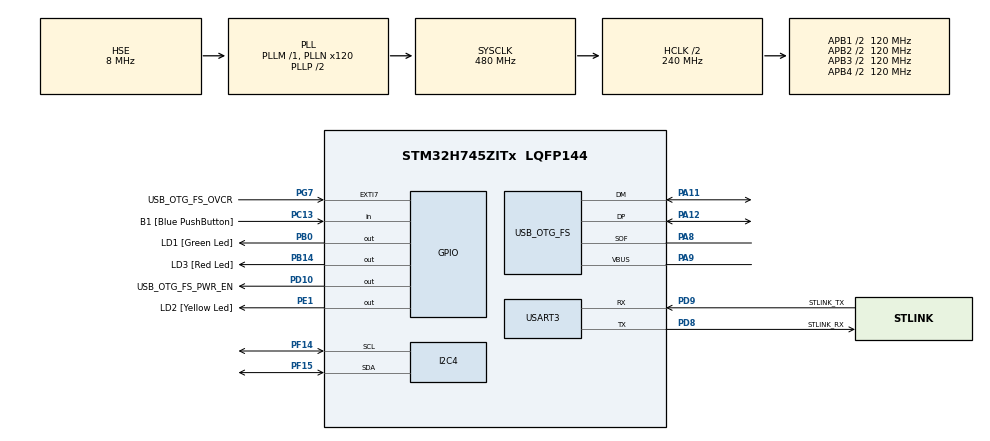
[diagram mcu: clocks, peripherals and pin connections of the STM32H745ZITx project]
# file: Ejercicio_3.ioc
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CortexM4.IPs=FATFS_M4\:I,FREERTOS_M4\:I,IWDG2\:I,RCC,WWDG2\:I,DMA,BDMA,MDMA,NVIC2\:I,DEBUG,USB_DEVICE_M4\:I,USB_HOST_M4\:I,PDM2PCM_M4\:I,PWR,RESMGR_UTILITY,SYS_M4\:I,CORTEX_M4\:I,OPENAMP_M4\:I,VREFBUF,GPIO
CortexM7.IPs=FATFS_M7\:I,FREERTOS_M7\:I,IWDG1\:I,RCC\:I,WWDG1\:I,DMA\:I,BDMA\:I,MDMA\:I,NVIC1\:I,SYS\:I,USART3\:I,USB_OTG_FS\:I,CORTEX_M7\:I,DEBUG\:I,USB_DEVICE_M7\:I,USB_HOST_M7\:I,PDM2PCM_M7\:I,PWR\:I,RESMGR_UTILITY\:I,OPENAMP_M7\:I,VREFBUF\:I,GPIO\:I,TIM2\:I,I2C4\:I
CortexM7.Pins=PB0,PB14
I2C4.Timing=0x307075B1
Mcu.Family=STM32H7
Mcu.Name=STM32H745ZITx
Mcu.Package=LQFP144
NVIC1.PriorityGroup=NVIC_PRIORITYGROUP_4
NVIC1.TIM2_IRQn=true\:0\:0\:false\:false\:true\:true\:true\:true
NVIC2.PriorityGroup=NVIC_PRIORITYGROUP_4
PA1.PinAttribute=CortexM7
PA1.Signal=ETH_REF_CLK
PA11.Mode=Device_Only
PA11.PinAttribute=CortexM7
PA11.Signal=USB_OTG_FS_DM
PA12.Mode=Device_Only
PA12.PinAttribute=CortexM7
PA12.Signal=USB_OTG_FS_DP
PA2.PinAttribute=CortexM7
PA2.Signal=ETH_MDIO
PA7.PinAttribute=CortexM7
PA7.Signal=ETH_CRS_DV
PA8.Mode=Activate_SOF_FS
PA8.PinAttribute=CortexM7
PA8.Signal=USB_OTG_FS_SOF
PA9.Mode=Activate_VBUS
PA9.PinAttribute=CortexM7
PA9.Signal=USB_OTG_FS_VBUS
PB0.GPIO_Label=LD1 [Green Led]
PB0.GPIO_PuPd=GPIO_PULLDOWN
PB0.GPIO_Speed=GPIO_SPEED_FREQ_HIGH
PB0.PinAttribute=CortexM7
PB0.PinState=GPIO_PIN_RESET
PB0.Signal=GPIO_Output
PB13.PinAttribute=CortexM7
PB13.Signal=ETH_TXD1
PB14.GPIO_Label=LD3 [Red Led]
PB14.GPIO_ModeDefaultOutputPP=GPIO_MODE_OUTPUT_PP
PB14.GPIO_PuPd=GPIO_PULLDOWN
PB14.GPIO_Speed=GPIO_SPEED_FREQ_HIGH
PB14.PinAttribute=CortexM7
PB14.PinState=GPIO_PIN_RESET
PB14.Signal=GPIO_Output
PC1.PinAttribute=CortexM7
PC1.Signal=ETH_MDC
PC13.GPIO_Label=B1 [Blue PushButton]
PC13.PinAttribute=Free
PC13.Signal=GPIO_Input
PC14-OSC32_IN\ (OSC32_IN).Mode=LSE-External-Oscillator
PC14-OSC32_IN\ (OSC32_IN).PinAttribute=CortexM7
PC14-OSC32_IN\ (OSC32_IN).Signal=RCC_OSC32_IN
PC15-OSC32_OUT\ (OSC32_OUT).Mode=LSE-External-Oscillator
PC15-OSC32_OUT\ (OSC32_OUT).PinAttribute=CortexM7
PC15-OSC32_OUT\ (OSC32_OUT).Signal=RCC_OSC32_OUT
PC4.PinAttribute=CortexM7
PC4.Signal=ETH_RXD0
PC5.PinAttribute=CortexM7
PC5.Signal=ETH_RXD1
PD10.GPIO_Label=USB_OTG_FS_PWR_EN
PD10.PinAttribute=Free
PD10.Signal=GPIO_Output
PD8.GPIO_Label=STLINK_RX
PD8.Mode=Asynchronous
PD8.PinAttribute=CortexM7
PD8.Signal=USART3_TX
PD9.GPIO_Label=STLINK_TX
PD9.Mode=Asynchronous
PD9.PinAttribute=CortexM7
PD9.Signal=USART3_RX
PE1.GPIO_Label=LD2 [Yellow Led]
PE1.PinAttribute=Free
PE1.Signal=GPIO_Output
PF14.Mode=I2C
PF14.PinAttribute=CortexM7
PF14.Signal=I2C4_SCL
PF15.Mode=I2C
PF15.PinAttribute=CortexM7
PF15.Signal=I2C4_SDA
PG11.PinAttribute=CortexM7
PG11.Signal=ETH_TX_EN
PG13.PinAttribute=CortexM7
PG13.Signal=ETH_TXD0
PG7.GPIO_Label=USB_OTG_FS_OVCR
PG7.PinAttribute=Free
PG7.Signal=GPXTI7
PH0-OSC_IN\ (PH0).Mode=HSE-External-Clock-Source
PH0-OSC_IN\ (PH0).PinAttribute=CortexM7
PH0-OSC_IN\ (PH0).Signal=RCC_OSC_IN
PH1-OSC_OUT\ (PH1).PinAttribute=CortexM7
PH1-OSC_OUT\ (PH1).Signal=RCC_OSC_OUT
ProjectManager.HeapSize=M4-0x200,M7-0x200
ProjectManager.StackSize=M4-0x400,M7-0x400
ProjectManager.TargetToolchain=STM32CubeIDE
RCC.ADCFreq_Value=16125000
RCC.APB1Freq_Value=120000000
RCC.APB2Freq_Value=120000000
RCC.APB3Freq_Value=120000000
RCC.APB4Freq_Value=120000000
RCC.CortexFreq_Value=480000000
RCC.D1PPRE=RCC_APB3_DIV2
RCC.D2PPRE1=RCC_APB1_DIV2
RCC.D2PPRE2=RCC_APB2_DIV2
RCC.D3PPRE=RCC_APB4_DIV2
RCC.DIVM1=1
RCC.DIVM3=1
RCC.DIVN1=120
RCC.DIVN3=24
RCC.DIVQ3=4
RCC.HCLKFreq_Value=240000000
RCC.HPRE=RCC_HCLK_DIV2
RCC.HSE_VALUE=8000000
RCC.PLL2FRACN=0
RCC.PLL3FRACN=0
RCC.PLLFRACN=0
RCC.SYSCLKFreq_VALUE=480000000
RCC.SYSCLKSource=RCC_SYSCLKSOURCE_PLLCLK
RCC.SupplySource=PWR_DIRECT_SMPS_SUPPLY
RCC.USBCLockSelection=RCC_USBCLKSOURCE_PLL3
RCC.USBFreq_Value=48000000
TIM2.Period=5000
TIM2.Prescaler=48000
USART3.VirtualMode-Asynchronous=VM_ASYNC
USB_OTG_FS.VirtualMode=Device_Only
VP_SYS_M4_VS_Systick.Mode=SysTick
VP_TIM2_VS_ClockSourceINT.Mode=Internal
board=NUCLEO-H745ZI-Q

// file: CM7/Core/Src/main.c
/* USER CODE BEGIN Header */
/**
  ******************************************************************************
  * @file           : main.c
  * @brief          : Main program body
  ******************************************************************************
  * @attention
  *
  * Copyright (c) 2022 STMicroelectronics.
  * All rights reserved.
  *
  * This software is licensed under terms that can be found in the LICENSE file
  * in the root directory of this software component.
  * If no LICENSE file comes with this software, it is provided AS-IS.
  *
  ******************************************************************************
  */
/* USER CODE END Header */
#include "main.h"

/* USER CODE BEGIN Includes */
#include <stdio.h>
#include <string.h>
/* USER CODE END Includes */

/* USER CODE BEGIN PTD */
#define MPU6050_ADDR 0xD0
#define WHO_AM_I 0x75
#define SMPLRT_DIV 0x19
#define GYRO_CONFIG 0x1B
#define ACCEL_CONFIG 0x1C
#define ACCEL_XOUT_H 0x3B
#define TEMP_OUT_H 0x41
#define GYRO_XOUT_H 0x43
#define PWR_MGMT_1 0x6B
/* USER CODE END PTD */

/* USER CODE BEGIN PD */

#ifndef HSEM_ID_0
#define HSEM_ID_0 (0U) /* HW semaphore 0*/
#endif
/* USER CODE END PD */

I2C_HandleTypeDef hi2c4;

TIM_HandleTypeDef htim2;

UART_HandleTypeDef huart3;

PCD_HandleTypeDef hpcd_USB_OTG_FS;

/* USER CODE BEGIN PV */
uint8_t check, data;

int16_t acc_X_read = 0;
int16_t acc_Y_read = 0;
int16_t acc_Z_read = 0;
int16_t gyr_X_read = 0;
int16_t gyr_Y_read = 0;
int16_t gyr_Z_read = 0;

float acc_X, acc_Y, acc_Z, gyr_X, gyr_Y, gyr_Z;

HAL_StatusTypeDef status;

char uart_buf[50];
uint16_t uart_buf_len;
/* USER CODE END PV */

void SystemClock_Config(void);
static void MX_GPIO_Init(void);
static void MX_USART3_UART_Init(void);
static void MX_USB_OTG_FS_PCD_Init(void);
static void MX_TIM2_Init(void);
static void MX_I2C4_Init(void);
/* USER CODE BEGIN PFP */
static void MPU6050_init(void);
static void MPU6050_read_acc(void);
static void MPU6050_read_gyro(void);
/* USER CODE END PFP */

int main(void)
{
/* USER CODE BEGIN Boot_Mode_Sequence_0 */
  int32_t timeout;
/* USER CODE END Boot_Mode_Sequence_0 */

/* USER CODE BEGIN Boot_Mode_Sequence_1 */
  /* Wait until CPU2 boots and enters in stop mode or timeout*/
  timeout = 0xFFFF;
  while((__HAL_RCC_GET_FLAG(RCC_FLAG_D2CKRDY) != RESET) && (timeout-- > 0));
  if ( timeout < 0 )
  {
  Error_Handler();
  }
/* USER CODE END Boot_Mode_Sequence_1 */
  /* MCU Configuration--------------------------------------------------------*/

  /* Reset of all peripherals, Initializes the Flash interface and the Systick. */
  HAL_Init();

  /* USER CODE BEGIN Init */
  //HAL_I2C_Init(&hi2c4);
  /* USER CODE END Init */

  /* Configure the system clock */
  SystemClock_Config();
/* USER CODE BEGIN Boot_Mode_Sequence_2 */
/* When system initialization is finished, Cortex-M7 will release Cortex-M4 by means of
HSEM notification */
/*HW semaphore Clock enable*/
__HAL_RCC_HSEM_CLK_ENABLE();
/*Take HSEM */
HAL_HSEM_FastTake(HSEM_ID_0);
/*Release HSEM in order to notify the CPU2(CM4)*/
HAL_HSEM_Release(HSEM_ID_0,0);
/* wait until CPU2 wakes up from stop mode */
timeout = 0xFFFF;
while((__HAL_RCC_GET_FLAG(RCC_FLAG_D2CKRDY) == RESET) && (timeout-- > 0));
if ( timeout < 0 )
{
Error_Handler();
}
/* USER CODE END Boot_Mode_Sequence_2 */

  /* Initialize all configured peripherals */
  MX_GPIO_Init();
  MX_USART3_UART_Init();
  MX_USB_OTG_FS_PCD_Init();
  MX_TIM2_Init();
  MX_I2C4_Init();
  /* USER CODE BEGIN 2 */

  // Revisión de conexión del dispositivo
  status = HAL_I2C_IsDeviceReady(&hi2c4, MPU6050_ADDR, 1, 3000);
  if (status == HAL_OK) HAL_GPIO_WritePin(GPIOB, GPIO_PIN_0, SET);
  else HAL_GPIO_WritePin(GPIOB, GPIO_PIN_14, SET);
  HAL_Delay(500);
  // Inicialización del MPU6050
  MPU6050_init();

  // Prueba de comunicación UART
  uart_buf_len = sprintf(uart_buf, "MPU6050 test\r\n");
  HAL_UART_Transmit(&huart3, &uart_buf, uart_buf_len, 100);

  /* USER CODE END 2 */

  /* Infinite loop */
  while (1)
  {

    /* USER CODE BEGIN 3 */
	  MPU6050_read_acc();
	  MPU6050_read_gyro();

	  uart_buf_len = sprintf(uart_buf, "AccX = %.2f m/s^2 \r\n", acc_X);
	  HAL_UART_Transmit(&huart3, &uart_buf, uart_buf_len, 100);
	  uart_buf_len = sprintf(uart_buf, "AccY = %.2f m/s^2 \r\n", acc_Y);
	  HAL_UART_Transmit(&huart3, &uart_buf, uart_buf_len, 100);
	  uart_buf_len = sprintf(uart_buf, "AccZ = %.2f m/s^2 \r\n", acc_Z);
	  HAL_UART_Transmit(&huart3, &uart_buf, uart_buf_len, 100);

	  uart_buf_len = sprintf(uart_buf, "GyrX = %.2f °/s \r\n", gyr_X);
	  HAL_UART_Transmit(&huart3, &uart_buf, uart_buf_len, 100);
	  uart_buf_len = sprintf(uart_buf, "GyrY = %.2f °/s \r\n", gyr_Y);
	  HAL_UART_Transmit(&huart3, &uart_buf, uart_buf_len, 100);
	  uart_buf_len = sprintf(uart_buf, "GyrZ = %.2f °/s \r\n\n", gyr_Z);
	  HAL_UART_Transmit(&huart3, &uart_buf, uart_buf_len, 100);

	  HAL_Delay(500);
  }
  /* USER CODE END 3 */
}

void SystemClock_Config(void)
{
  RCC_OscInitTypeDef RCC_OscInitStruct = {0};
  RCC_ClkInitTypeDef RCC_ClkInitStruct = {0};

  /** Supply configuration update enable
  */
  HAL_PWREx_ConfigSupply(PWR_DIRECT_SMPS_SUPPLY);

  /** Configure the main internal regulator output voltage
  */
  __HAL_PWR_VOLTAGESCALING_CONFIG(PWR_REGULATOR_VOLTAGE_SCALE0);

  while(!__HAL_PWR_GET_FLAG(PWR_FLAG_VOSRDY)) {}

  /** Macro to configure the PLL clock source
  */
  __HAL_RCC_PLL_PLLSOURCE_CONFIG(RCC_PLLSOURCE_HSE);

  /** Initializes the RCC Oscillators according to the specified parameters
  * in the RCC_OscInitTypeDef structure.
  */
  RCC_OscInitStruct.OscillatorType = RCC_OSCILLATORTYPE_HSE;
  RCC_OscInitStruct.HSEState = RCC_HSE_BYPASS;
  RCC_OscInitStruct.PLL.PLLState = RCC_PLL_ON;
  RCC_OscInitStruct.PLL.PLLSource = RCC_PLLSOURCE_HSE;
  RCC_OscInitStruct.PLL.PLLM = 1;
  RCC_OscInitStruct.PLL.PLLN = 120;
  RCC_OscInitStruct.PLL.PLLP = 2;
  RCC_OscInitStruct.PLL.PLLQ = 2;
  RCC_OscInitStruct.PLL.PLLR = 2;
  RCC_OscInitStruct.PLL.PLLRGE = RCC_PLL1VCIRANGE_3;
  RCC_OscInitStruct.PLL.PLLVCOSEL = RCC_PLL1VCOWIDE;
  RCC_OscInitStruct.PLL.PLLFRACN = 0;
  if (HAL_RCC_OscConfig(&RCC_OscInitStruct) != HAL_OK)
  {
    Error_Handler();
  }

  /** Initializes the CPU, AHB and APB buses clocks
  */
  RCC_ClkInitStruct.ClockType = RCC_CLOCKTYPE_HCLK|RCC_CLOCKTYPE_SYSCLK
                              |RCC_CLOCKTYPE_PCLK1|RCC_CLOCKTYPE_PCLK2
                              |RCC_CLOCKTYPE_D3PCLK1|RCC_CLOCKTYPE_D1PCLK1;
  RCC_ClkInitStruct.SYSCLKSource = RCC_SYSCLKSOURCE_PLLCLK;
  RCC_ClkInitStruct.SYSCLKDivider = RCC_SYSCLK_DIV1;
  RCC_ClkInitStruct.AHBCLKDivider = RCC_HCLK_DIV2;
  RCC_ClkInitStruct.APB3CLKDivider = RCC_APB3_DIV2;
  RCC_ClkInitStruct.APB1CLKDivider = RCC_APB1_DIV2;
  RCC_ClkInitStruct.APB2CLKDivider = RCC_APB2_DIV2;
  RCC_ClkInitStruct.APB4CLKDivider = RCC_APB4_DIV2;

  if (HAL_RCC_ClockConfig(&RCC_ClkInitStruct, FLASH_LATENCY_4) != HAL_OK)
  {
    Error_Handler();
  }
}

static void MX_I2C4_Init(void)
{

  hi2c4.Instance = I2C4;
  hi2c4.Init.Timing = 0x307075B1;
  hi2c4.Init.OwnAddress1 = 0;
  hi2c4.Init.AddressingMode = I2C_ADDRESSINGMODE_7BIT;
  hi2c4.Init.DualAddressMode = I2C_DUALADDRESS_DISABLE;
  hi2c4.Init.OwnAddress2 = 0;
  hi2c4.Init.OwnAddress2Masks = I2C_OA2_NOMASK;
  hi2c4.Init.GeneralCallMode = I2C_GENERALCALL_DISABLE;
  hi2c4.Init.NoStretchMode = I2C_NOSTRETCH_DISABLE;
  if (HAL_I2C_Init(&hi2c4) != HAL_OK)
  {
    Error_Handler();
  }

  /** Configure Analogue filter
  */
  if (HAL_I2CEx_ConfigAnalogFilter(&hi2c4, I2C_ANALOGFILTER_ENABLE) != HAL_OK)
  {
    Error_Handler();
  }

  /** Configure Digital filter
  */
  if (HAL_I2CEx_ConfigDigitalFilter(&hi2c4, 0) != HAL_OK)
  {
    Error_Handler();
  }

}

static void MX_TIM2_Init(void)
{

  TIM_ClockConfigTypeDef sClockSourceConfig = {0};
  TIM_MasterConfigTypeDef sMasterConfig = {0};

  htim2.Instance = TIM2;
  htim2.Init.Prescaler = 48000;
  htim2.Init.CounterMode = TIM_COUNTERMODE_UP;
  htim2.Init.Period = 5000;
  htim2.Init.ClockDivision = TIM_CLOCKDIVISION_DIV1;
  htim2.Init.AutoReloadPreload = TIM_AUTORELOAD_PRELOAD_DISABLE;
  if (HAL_TIM_Base_Init(&htim2) != HAL_OK)
  {
    Error_Handler();
  }
  sClockSourceConfig.ClockSource = TIM_CLOCKSOURCE_INTERNAL;
  if (HAL_TIM_ConfigClockSource(&htim2, &sClockSourceConfig) != HAL_OK)
  {
    Error_Handler();
  }
  sMasterConfig.MasterOutputTrigger = TIM_TRGO_RESET;
  sMasterConfig.MasterSlaveMode = TIM_MASTERSLAVEMODE_DISABLE;
  if (HAL_TIMEx_MasterConfigSynchronization(&htim2, &sMasterConfig) != HAL_OK)
  {
    Error_Handler();
  }

}

static void MX_USART3_UART_Init(void)
{

  huart3.Instance = USART3;
  huart3.Init.BaudRate = 115200;
  huart3.Init.WordLength = UART_WORDLENGTH_8B;
  huart3.Init.StopBits = UART_STOPBITS_1;
  huart3.Init.Parity = UART_PARITY_NONE;
  huart3.Init.Mode = UART_MODE_TX_RX;
  huart3.Init.HwFlowCtl = UART_HWCONTROL_NONE;
  huart3.Init.OverSampling = UART_OVERSAMPLING_16;
  huart3.Init.OneBitSampling = UART_ONE_BIT_SAMPLE_DISABLE;
  huart3.Init.ClockPrescaler = UART_PRESCALER_DIV1;
  huart3.AdvancedInit.AdvFeatureInit = UART_ADVFEATURE_NO_INIT;
  if (HAL_UART_Init(&huart3) != HAL_OK)
  {
    Error_Handler();
  }
  if (HAL_UARTEx_SetTxFifoThreshold(&huart3, UART_TXFIFO_THRESHOLD_1_8) != HAL_OK)
  {
    Error_Handler();
  }
  if (HAL_UARTEx_SetRxFifoThreshold(&huart3, UART_RXFIFO_THRESHOLD_1_8) != HAL_OK)
  {
    Error_Handler();
  }
  if (HAL_UARTEx_DisableFifoMode(&huart3) != HAL_OK)
  {
    Error_Handler();
  }

}

static void MX_USB_OTG_FS_PCD_Init(void)
{

  hpcd_USB_OTG_FS.Instance = USB_OTG_FS;
  hpcd_USB_OTG_FS.Init.dev_endpoints = 9;
  hpcd_USB_OTG_FS.Init.speed = PCD_SPEED_FULL;
  hpcd_USB_OTG_FS.Init.dma_enable = DISABLE;
  hpcd_USB_OTG_FS.Init.phy_itface = PCD_PHY_EMBEDDED;
  hpcd_USB_OTG_FS.Init.Sof_enable = DISABLE;
  hpcd_USB_OTG_FS.Init.low_power_enable = DISABLE;
  hpcd_USB_OTG_FS.Init.lpm_enable = DISABLE;
  hpcd_USB_OTG_FS.Init.battery_charging_enable = ENABLE;
  hpcd_USB_OTG_FS.Init.vbus_sensing_enable = ENABLE;
  hpcd_USB_OTG_FS.Init.use_dedicated_ep1 = DISABLE;
  if (HAL_PCD_Init(&hpcd_USB_OTG_FS) != HAL_OK)
  {
    Error_Handler();
  }

}

static void MX_GPIO_Init(void)
{
  GPIO_InitTypeDef GPIO_InitStruct = {0};

  /* GPIO Ports Clock Enable */
  __HAL_RCC_GPIOC_CLK_ENABLE();
  __HAL_RCC_GPIOH_CLK_ENABLE();
  __HAL_RCC_GPIOB_CLK_ENABLE();
  __HAL_RCC_GPIOF_CLK_ENABLE();
  __HAL_RCC_GPIOD_CLK_ENABLE();
  __HAL_RCC_GPIOA_CLK_ENABLE();

  /*Configure GPIO pin Output Level */
  HAL_GPIO_WritePin(GPIOB, LD1_Pin|LD3_Pin, GPIO_PIN_RESET);

  /*Configure GPIO pins : LD1_Pin LD3_Pin */
  GPIO_InitStruct.Pin = LD1_Pin|LD3_Pin;
  GPIO_InitStruct.Mode = GPIO_MODE_OUTPUT_PP;
  GPIO_InitStruct.Pull = GPIO_PULLDOWN;
  GPIO_InitStruct.Speed = GPIO_SPEED_FREQ_HIGH;
  HAL_GPIO_Init(GPIOB, &GPIO_InitStruct);

}

/* USER CODE BEGIN 4 */
void MPU6050_init(){
	HAL_I2C_Mem_Read(&hi2c4, MPU6050_ADDR, WHO_AM_I, 1, &check, 1, 3000);
	uart_buf_len = sprintf(uart_buf, "Dirección: %u \r\n", check);
	HAL_UART_Transmit(&huart3, &uart_buf, uart_buf_len, 100);
	HAL_Delay(1000);

	data = 0x00;
	HAL_I2C_Mem_Write(&hi2c4, MPU6050_ADDR, PWR_MGMT_1, 1, &data, 1, 3000);
	data = 0b10000111;
	HAL_I2C_Mem_Write(&hi2c4, MPU6050_ADDR, SMPLRT_DIV, 1, &data, 1, 3000);
	data = 0x00;
	HAL_I2C_Mem_Write(&hi2c4, MPU6050_ADDR, GYRO_CONFIG, 1, &data, 1, 3000);
	data = 0x00;
	HAL_I2C_Mem_Write(&hi2c4, MPU6050_ADDR, ACCEL_CONFIG, 1, &data, 1, 3000);

}

void MPU6050_read_acc(void){
	uint8_t read_acc[6];

	HAL_I2C_Mem_Read(&hi2c4, MPU6050_ADDR, ACCEL_XOUT_H, 1, read_acc, 6, 3000);

	acc_X_read = (int16_t)(read_acc[0] << 8 | read_acc[1]);
	acc_Y_read = (int16_t)(read_acc[2] << 8 | read_acc[3]);
	acc_Z_read = (int16_t)(read_acc[4] << 8 | read_acc[5]);

	acc_X = (acc_X_read/16384.0) * 9.81;
	acc_Y = (acc_Y_read/16384.0) * 9.81;
	acc_Z = (acc_Z_read/16384.0) * 9.81;

}

void MPU6050_read_gyro(void){
	uint8_t read_gyro[6];

	HAL_I2C_Mem_Read(&hi2c4, MPU6050_ADDR, GYRO_XOUT_H, 1, read_gyro, 6, 3000);

	gyr_X_read = (int16_t)(read_gyro[0] << 8 | read_gyro[1]);
	gyr_Y_read = (int16_t)(read_gyro[2] << 8 | read_gyro[3]);
	gyr_Z_read = (int16_t)(read_gyro[4] << 8 | read_gyro[5]);

	gyr_X = gyr_X_read/131.0;
	gyr_Y = gyr_Y_read/131.0;
	gyr_Z = gyr_Z_read/131.0;
}

/* USER CODE END 4 */

void Error_Handler(void)
{
  __disable_irq();
  while (1)
  {
  }
}
